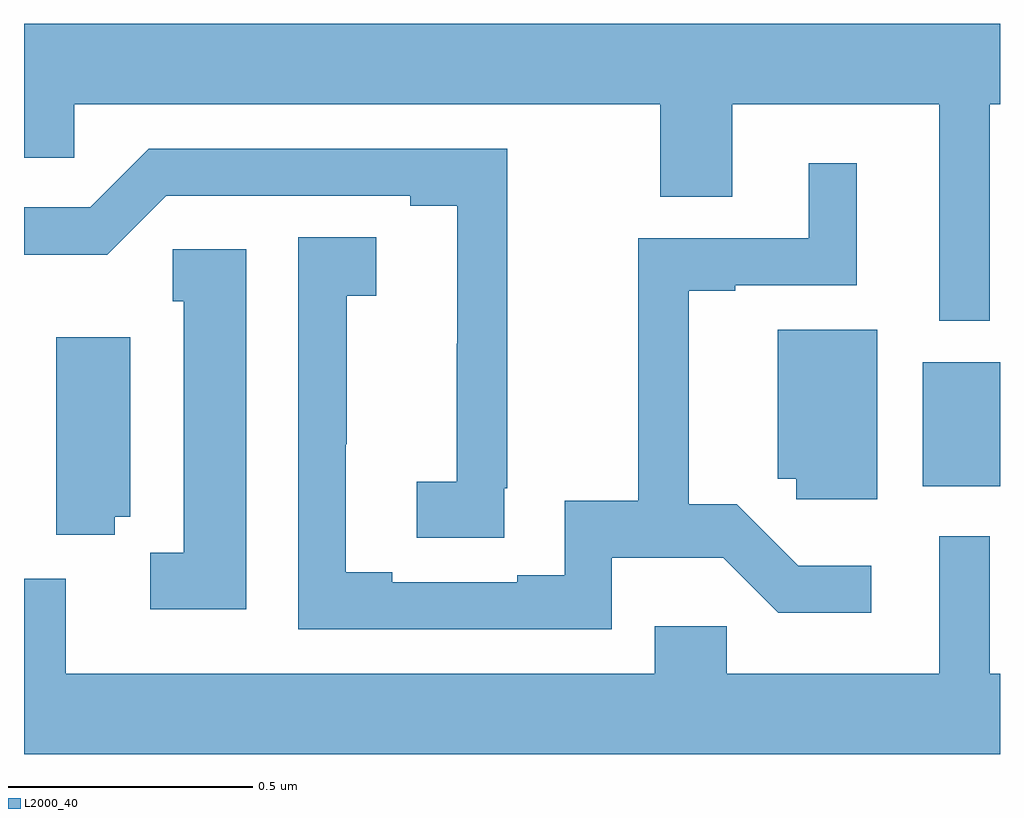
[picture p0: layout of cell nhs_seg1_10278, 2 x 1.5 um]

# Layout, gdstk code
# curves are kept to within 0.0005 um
import gdstk
lib = gdstk.Library(unit=1e-6, precision=1e-09)
def R(c, l, rs):  # rectangles x0, y0, x1, y1
    for r in rs: c.add(gdstk.rectangle(r[:2], r[2:], *l))
def P(c, l, *ps):  # polygons
    for p in ps: c.add(gdstk.Polygon(p, *l))
L2000_40 = (2000, 40)

nhs_seg1_10278 = lib.new_cell('nhs_seg1_10278')
R(nhs_seg1_10278, L2000_40, [(240.842,542.957,241,543.211)])
P(nhs_seg1_10278, L2000_40, [(240.979,543.74),(241,543.74),(241,543.904),(239,543.904),(239,543.63),(239.103,543.63),(239.103,543.74),(240.304,543.74),(240.304,543.55),(240.451,543.55),(240.451,543.74),(240.875,543.74),(240.875,543.296),(240.979,543.296)],
  [(239.984,542.953),(239.99,542.953),(239.99,543.648),(239.256,543.648),(239.136,543.528),(239,543.528),(239,543.431),(239.171,543.431),(239.292,543.552),(239.792,543.552),(239.792,543.532),(239.888,543.532),(239.887,542.966),(239.805,542.966),(239.805,542.851),(239.984,542.851)],
  [(240.204,542.81),(240.433,542.81),(240.546,542.697),(240.736,542.697),(240.736,542.794),(240.587,542.794),(240.461,542.92),(240.362,542.92),(240.362,543.357),(240.457,543.357),(240.457,543.369),(240.706,543.369),(240.706,543.619),(240.608,543.619),(240.608,543.465),(240.259,543.465),(240.259,542.927),(240.108,542.927),(240.108,542.774),(240.011,542.774),(240.011,542.76),(239.755,542.76),(239.755,542.78),(239.659,542.78),(239.659,543.043),(239.661,543.043),(239.661,543.347),(239.722,543.347),(239.722,543.467),(239.562,543.467),(239.562,542.664),(240.204,542.664)],
  [(239.455,543.442),(239.305,543.442),(239.305,543.336),(239.327,543.336),(239.327,542.82),(239.259,542.82),(239.259,542.705),(239.455,542.705)],
  [(240.748,543.277),(240.545,543.277),(240.545,542.972),(240.582,542.972),(240.582,542.93),(240.748,542.93)],
  [(239.186,542.894),(239.218,542.894),(239.218,543.262),(239.066,543.262),(239.066,542.857),(239.186,542.857)],
  [(241,542.572),(240.979,542.572),(240.979,542.854),(240.875,542.854),(240.875,542.572),(240.44,542.572),(240.44,542.67),(240.293,542.67),(240.293,542.572),(239.086,542.572),(239.086,542.767),(239,542.767),(239,542.408),(241,542.408)])

lib.write_gds('nhs_seg1_10278.gds')
